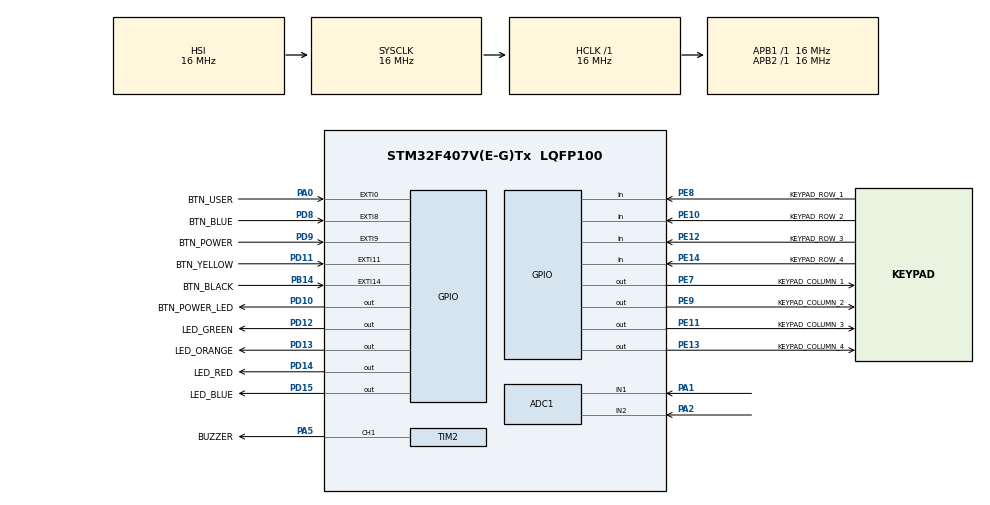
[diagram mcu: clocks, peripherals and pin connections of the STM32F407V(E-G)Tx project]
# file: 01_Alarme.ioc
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ADC1.Channel-0\#ChannelRegularConversion=ADC_CHANNEL_1
ADC1.Channel-1\#ChannelRegularConversion=ADC_CHANNEL_2
ADC1.ContinuousConvMode=ENABLE
ADC1.DMAContinuousRequests=ENABLE
ADC1.NbrOfConversion=2
ADC1.NbrOfConversionFlag=1
ADC1.Rank-0\#ChannelRegularConversion=1
ADC1.Rank-1\#ChannelRegularConversion=2
ADC1.SamplingTime-0\#ChannelRegularConversion=ADC_SAMPLETIME_480CYCLES
ADC1.SamplingTime-1\#ChannelRegularConversion=ADC_SAMPLETIME_480CYCLES
ADC1.master=1
Dma.ADC1.0.Direction=DMA_PERIPH_TO_MEMORY
Dma.ADC1.0.FIFOMode=DMA_FIFOMODE_DISABLE
Dma.ADC1.0.Instance=DMA2_Stream0
Dma.ADC1.0.MemDataAlignment=DMA_MDATAALIGN_WORD
Dma.ADC1.0.MemInc=DMA_MINC_ENABLE
Dma.ADC1.0.Mode=DMA_CIRCULAR
Dma.ADC1.0.PeriphDataAlignment=DMA_PDATAALIGN_WORD
Dma.ADC1.0.PeriphInc=DMA_PINC_DISABLE
Dma.ADC1.0.Priority=DMA_PRIORITY_LOW
Dma.Request0=ADC1
Mcu.Family=STM32F4
Mcu.Name=STM32F407V(E-G)Tx
Mcu.Package=LQFP100
NVIC.DMA2_Stream0_IRQn=true\:0\:0\:false\:false\:true\:false\:true
NVIC.EXTI0_IRQn=true\:1\:0\:true\:false\:true\:true\:true
NVIC.EXTI15_10_IRQn=true\:1\:0\:true\:false\:true\:true\:true
NVIC.EXTI9_5_IRQn=true\:1\:0\:true\:false\:true\:true\:true
NVIC.PriorityGroup=NVIC_PRIORITYGROUP_4
NVIC.TIM3_IRQn=true\:1\:0\:true\:false\:true\:true\:true
NVIC.TIM4_IRQn=true\:0\:0\:false\:false\:true\:true\:true
PA0-WKUP.GPIO_Label=BTN_USER
PA0-WKUP.GPIO_ModeDefaultEXTI=GPIO_MODE_IT_RISING
PA0-WKUP.GPIO_PuPd=GPIO_NOPULL
PA0-WKUP.Signal=GPXTI0
PA1.Signal=ADCx_IN1
PA2.Signal=ADCx_IN2
PA5.GPIO_Label=BUZZER
PA5.Signal=S_TIM2_CH1_ETR
PB14.GPIO_Label=BTN_BLACK
PB14.GPIO_PuPd=GPIO_PULLDOWN
PB14.Signal=GPXTI14
PD10.GPIO_Label=BTN_POWER_LED
PD10.Signal=GPIO_Output
PD11.GPIO_Label=BTN_YELLOW
PD11.GPIO_PuPd=GPIO_PULLDOWN
PD11.Signal=GPXTI11
PD12.GPIO_Label=LED_GREEN
PD12.Signal=GPIO_Output
PD13.GPIO_Label=LED_ORANGE
PD13.Signal=GPIO_Output
PD14.GPIO_Label=LED_RED
PD14.Signal=GPIO_Output
PD15.GPIO_Label=LED_BLUE
PD15.Signal=GPIO_Output
PD8.GPIO_Label=BTN_BLUE
PD8.GPIO_PuPd=GPIO_PULLDOWN
PD8.Signal=GPXTI8
PD9.GPIO_Label=BTN_POWER
PD9.GPIO_PuPd=GPIO_PULLDOWN
PD9.Signal=GPXTI9
PE10.GPIO_Label=KEYPAD_ROW_2
PE10.Signal=GPIO_Input
PE11.GPIO_Label=KEYPAD_COLUMN_3
PE11.Signal=GPIO_Output
PE12.GPIO_Label=KEYPAD_ROW_3
PE12.Signal=GPIO_Input
PE13.GPIO_Label=KEYPAD_COLUMN_4
PE13.Signal=GPIO_Output
PE14.GPIO_Label=KEYPAD_ROW_4
PE14.Signal=GPIO_Input
PE7.GPIO_Label=KEYPAD_COLUMN_1
PE7.Signal=GPIO_Output
PE8.GPIO_Label=KEYPAD_ROW_1
PE8.Signal=GPIO_Input
PE9.GPIO_Label=KEYPAD_COLUMN_2
PE9.Signal=GPIO_Output
ProjectManager.HeapSize=0x200
ProjectManager.StackSize=0x400
ProjectManager.TargetToolchain=MDK-ARM V5.27
RCC.AHBFreq_Value=16000000
RCC.APB1Freq_Value=16000000
RCC.APB2Freq_Value=16000000
RCC.CortexFreq_Value=16000000
RCC.HSE_VALUE=25000000
RCC.HSI_VALUE=16000000
RCC.LSE_VALUE=32768
RCC.SYSCLKFreq_VALUE=16000000
RCC.VCOOutputFreq_Value=192000000
SH.ADCx_IN1.0=ADC1_IN1,IN1
SH.ADCx_IN2.0=ADC1_IN2,IN2
SH.S_TIM2_CH1_ETR.0=TIM2_CH1,PWM Generation1 CH1
TIM1.Period=64000
TIM1.Prescaler=250
TIM2.Channel-PWM\ Generation1\ CH1=TIM_CHANNEL_1
TIM2.Period=4444
TIM3.Period=64000
TIM3.Prescaler=250
TIM4.Period=64000
TIM4.Prescaler=62
VP_TIM1_VS_ClockSourceINT.Mode=Internal
VP_TIM1_VS_OPM.Mode=OPM_bit
VP_TIM2_VS_ClockSourceINT.Mode=Internal
VP_TIM3_VS_ClockSourceINT.Mode=Internal
VP_TIM4_VS_ClockSourceINT.Mode=Internal
board=custom

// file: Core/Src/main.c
/* USER CODE BEGIN Header */
/**
 ******************************************************************************
 * @file           : main.c
 * @brief          : Main program body
 ******************************************************************************
 * @attention
 *
 * <h2><center>&copy; Copyright (c) 2020 STMicroelectronics.
 * All rights reserved.</center></h2>
 *
 * This software component is licensed by ST under BSD 3-Clause license,
 * the "License"; You may not use this file except in compliance with the
 * License. You may obtain a copy of the License at:
 *                        opensource.org/licenses/BSD-3-Clause
 *
 ******************************************************************************
 */
/* USER CODE END Header */
#include "main.h"

/* USER CODE BEGIN Includes */
#include "../../MDK-ARM/Alarm.h"
/* USER CODE END Includes */

/* USER CODE BEGIN PD */
#define Z_DOOR_MOVEMENT 2500
#define Y_DOOR_MOVEMENT 2000
/* USER CODE END PD */

ADC_HandleTypeDef hadc1;
DMA_HandleTypeDef hdma_adc1;

TIM_HandleTypeDef htim1;
TIM_HandleTypeDef htim2;
TIM_HandleTypeDef htim3;
TIM_HandleTypeDef htim4;

/* USER CODE BEGIN PV */
Alarm myAlarm;
uint32_t adc[2];
uint32_t adc_value[2];
uint8_t busy_adc = 0;
uint8_t keysVal[4][4] = {{'1','4','7','0'},{'2', '5', '8','F'},{'3', '6', '9','E'},{'A', 'B', 'C','D'}};
/* USER CODE END PV */

void SystemClock_Config(void);
static void MX_GPIO_Init(void);
static void MX_DMA_Init(void);
static void MX_TIM1_Init(void);
static void MX_TIM3_Init(void);
static void MX_TIM2_Init(void);
static void MX_ADC1_Init(void);
static void MX_TIM4_Init(void);
/* USER CODE BEGIN PFP */
char getKeyPressed(void);
/* USER CODE END PFP */

int main(void)
{

  /* MCU Configuration--------------------------------------------------------*/

  /* Reset of all peripherals, Initializes the Flash interface and the Systick. */
  HAL_Init();

  /* Configure the system clock */
  SystemClock_Config();

  /* Initialize all configured peripherals */
  MX_GPIO_Init();
  MX_DMA_Init();
  MX_TIM1_Init();
  MX_TIM3_Init();
  MX_TIM2_Init();
  MX_ADC1_Init();
  MX_TIM4_Init();
  /* USER CODE BEGIN 2 */
	init_alarm(&myAlarm, htim3, htim2);
    HAL_ADC_Start_DMA(&hadc1, adc, 2);
    HAL_TIM_Base_Start_IT(&htim4);
  /* USER CODE END 2 */

  /* Infinite loop */
	while (1)
	{

	}
}

void SystemClock_Config(void)
{
  RCC_OscInitTypeDef RCC_OscInitStruct = {0};
  RCC_ClkInitTypeDef RCC_ClkInitStruct = {0};

  /** Configure the main internal regulator output voltage
  */
  __HAL_RCC_PWR_CLK_ENABLE();
  __HAL_PWR_VOLTAGESCALING_CONFIG(PWR_REGULATOR_VOLTAGE_SCALE1);
  /** Initializes the RCC Oscillators according to the specified parameters
  * in the RCC_OscInitTypeDef structure.
  */
  RCC_OscInitStruct.OscillatorType = RCC_OSCILLATORTYPE_HSI;
  RCC_OscInitStruct.HSIState = RCC_HSI_ON;
  RCC_OscInitStruct.HSICalibrationValue = RCC_HSICALIBRATION_DEFAULT;
  RCC_OscInitStruct.PLL.PLLState = RCC_PLL_NONE;
  if (HAL_RCC_OscConfig(&RCC_OscInitStruct) != HAL_OK)
  {
    Error_Handler();
  }
  /** Initializes the CPU, AHB and APB buses clocks
  */
  RCC_ClkInitStruct.ClockType = RCC_CLOCKTYPE_HCLK|RCC_CLOCKTYPE_SYSCLK
                              |RCC_CLOCKTYPE_PCLK1|RCC_CLOCKTYPE_PCLK2;
  RCC_ClkInitStruct.SYSCLKSource = RCC_SYSCLKSOURCE_HSI;
  RCC_ClkInitStruct.AHBCLKDivider = RCC_SYSCLK_DIV1;
  RCC_ClkInitStruct.APB1CLKDivider = RCC_HCLK_DIV1;
  RCC_ClkInitStruct.APB2CLKDivider = RCC_HCLK_DIV1;

  if (HAL_RCC_ClockConfig(&RCC_ClkInitStruct, FLASH_LATENCY_0) != HAL_OK)
  {
    Error_Handler();
  }
}

static void MX_ADC1_Init(void)
{

  ADC_ChannelConfTypeDef sConfig = {0};

  /** Configure the global features of the ADC (Clock, Resolution, Data Alignment and number of conversion)
  */
  hadc1.Instance = ADC1;
  hadc1.Init.ClockPrescaler = ADC_CLOCK_SYNC_PCLK_DIV2;
  hadc1.Init.Resolution = ADC_RESOLUTION_12B;
  hadc1.Init.ScanConvMode = ENABLE;
  hadc1.Init.ContinuousConvMode = ENABLE;
  hadc1.Init.DiscontinuousConvMode = DISABLE;
  hadc1.Init.ExternalTrigConvEdge = ADC_EXTERNALTRIGCONVEDGE_NONE;
  hadc1.Init.ExternalTrigConv = ADC_SOFTWARE_START;
  hadc1.Init.DataAlign = ADC_DATAALIGN_RIGHT;
  hadc1.Init.NbrOfConversion = 2;
  hadc1.Init.DMAContinuousRequests = ENABLE;
  hadc1.Init.EOCSelection = ADC_EOC_SINGLE_CONV;
  if (HAL_ADC_Init(&hadc1) != HAL_OK)
  {
    Error_Handler();
  }
  /** Configure for the selected ADC regular channel its corresponding rank in the sequencer and its sample time.
  */
  sConfig.Channel = ADC_CHANNEL_1;
  sConfig.Rank = 1;
  sConfig.SamplingTime = ADC_SAMPLETIME_480CYCLES;
  if (HAL_ADC_ConfigChannel(&hadc1, &sConfig) != HAL_OK)
  {
    Error_Handler();
  }
  /** Configure for the selected ADC regular channel its corresponding rank in the sequencer and its sample time.
  */
  sConfig.Channel = ADC_CHANNEL_2;
  sConfig.Rank = 2;
  if (HAL_ADC_ConfigChannel(&hadc1, &sConfig) != HAL_OK)
  {
    Error_Handler();
  }

}

static void MX_TIM1_Init(void)
{

  TIM_ClockConfigTypeDef sClockSourceConfig = {0};
  TIM_MasterConfigTypeDef sMasterConfig = {0};

  htim1.Instance = TIM1;
  htim1.Init.Prescaler = 250;
  htim1.Init.CounterMode = TIM_COUNTERMODE_UP;
  htim1.Init.Period = 64000;
  htim1.Init.ClockDivision = TIM_CLOCKDIVISION_DIV1;
  htim1.Init.RepetitionCounter = 0;
  htim1.Init.AutoReloadPreload = TIM_AUTORELOAD_PRELOAD_DISABLE;
  if (HAL_TIM_Base_Init(&htim1) != HAL_OK)
  {
    Error_Handler();
  }
  sClockSourceConfig.ClockSource = TIM_CLOCKSOURCE_INTERNAL;
  if (HAL_TIM_ConfigClockSource(&htim1, &sClockSourceConfig) != HAL_OK)
  {
    Error_Handler();
  }
  if (HAL_TIM_OnePulse_Init(&htim1, TIM_OPMODE_SINGLE) != HAL_OK)
  {
    Error_Handler();
  }
  sMasterConfig.MasterOutputTrigger = TIM_TRGO_RESET;
  sMasterConfig.MasterSlaveMode = TIM_MASTERSLAVEMODE_DISABLE;
  if (HAL_TIMEx_MasterConfigSynchronization(&htim1, &sMasterConfig) != HAL_OK)
  {
    Error_Handler();
  }

}

static void MX_TIM2_Init(void)
{

  TIM_ClockConfigTypeDef sClockSourceConfig = {0};
  TIM_MasterConfigTypeDef sMasterConfig = {0};
  TIM_OC_InitTypeDef sConfigOC = {0};

  htim2.Instance = TIM2;
  htim2.Init.Prescaler = 0;
  htim2.Init.CounterMode = TIM_COUNTERMODE_UP;
  htim2.Init.Period = 4444;
  htim2.Init.ClockDivision = TIM_CLOCKDIVISION_DIV1;
  htim2.Init.AutoReloadPreload = TIM_AUTORELOAD_PRELOAD_DISABLE;
  if (HAL_TIM_Base_Init(&htim2) != HAL_OK)
  {
    Error_Handler();
  }
  sClockSourceConfig.ClockSource = TIM_CLOCKSOURCE_INTERNAL;
  if (HAL_TIM_ConfigClockSource(&htim2, &sClockSourceConfig) != HAL_OK)
  {
    Error_Handler();
  }
  if (HAL_TIM_PWM_Init(&htim2) != HAL_OK)
  {
    Error_Handler();
  }
  sMasterConfig.MasterOutputTrigger = TIM_TRGO_RESET;
  sMasterConfig.MasterSlaveMode = TIM_MASTERSLAVEMODE_DISABLE;
  if (HAL_TIMEx_MasterConfigSynchronization(&htim2, &sMasterConfig) != HAL_OK)
  {
    Error_Handler();
  }
  sConfigOC.OCMode = TIM_OCMODE_PWM1;
  sConfigOC.Pulse = 0;
  sConfigOC.OCPolarity = TIM_OCPOLARITY_HIGH;
  sConfigOC.OCFastMode = TIM_OCFAST_DISABLE;
  if (HAL_TIM_PWM_ConfigChannel(&htim2, &sConfigOC, TIM_CHANNEL_1) != HAL_OK)
  {
    Error_Handler();
  }
  HAL_TIM_MspPostInit(&htim2);

}

static void MX_TIM3_Init(void)
{

  TIM_ClockConfigTypeDef sClockSourceConfig = {0};
  TIM_MasterConfigTypeDef sMasterConfig = {0};

  htim3.Instance = TIM3;
  htim3.Init.Prescaler = 250;
  htim3.Init.CounterMode = TIM_COUNTERMODE_UP;
  htim3.Init.Period = 64000;
  htim3.Init.ClockDivision = TIM_CLOCKDIVISION_DIV1;
  htim3.Init.AutoReloadPreload = TIM_AUTORELOAD_PRELOAD_DISABLE;
  if (HAL_TIM_Base_Init(&htim3) != HAL_OK)
  {
    Error_Handler();
  }
  sClockSourceConfig.ClockSource = TIM_CLOCKSOURCE_INTERNAL;
  if (HAL_TIM_ConfigClockSource(&htim3, &sClockSourceConfig) != HAL_OK)
  {
    Error_Handler();
  }
  sMasterConfig.MasterOutputTrigger = TIM_TRGO_RESET;
  sMasterConfig.MasterSlaveMode = TIM_MASTERSLAVEMODE_DISABLE;
  if (HAL_TIMEx_MasterConfigSynchronization(&htim3, &sMasterConfig) != HAL_OK)
  {
    Error_Handler();
  }

}

static void MX_TIM4_Init(void)
{

  TIM_ClockConfigTypeDef sClockSourceConfig = {0};
  TIM_MasterConfigTypeDef sMasterConfig = {0};

  htim4.Instance = TIM4;
  htim4.Init.Prescaler = 62;
  htim4.Init.CounterMode = TIM_COUNTERMODE_UP;
  htim4.Init.Period = 64000;
  htim4.Init.ClockDivision = TIM_CLOCKDIVISION_DIV1;
  htim4.Init.AutoReloadPreload = TIM_AUTORELOAD_PRELOAD_DISABLE;
  if (HAL_TIM_Base_Init(&htim4) != HAL_OK)
  {
    Error_Handler();
  }
  sClockSourceConfig.ClockSource = TIM_CLOCKSOURCE_INTERNAL;
  if (HAL_TIM_ConfigClockSource(&htim4, &sClockSourceConfig) != HAL_OK)
  {
    Error_Handler();
  }
  sMasterConfig.MasterOutputTrigger = TIM_TRGO_RESET;
  sMasterConfig.MasterSlaveMode = TIM_MASTERSLAVEMODE_DISABLE;
  if (HAL_TIMEx_MasterConfigSynchronization(&htim4, &sMasterConfig) != HAL_OK)
  {
    Error_Handler();
  }

}

static void MX_DMA_Init(void)
{

  /* DMA controller clock enable */
  __HAL_RCC_DMA2_CLK_ENABLE();

  /* DMA interrupt init */
  /* DMA2_Stream0_IRQn interrupt configuration */
  HAL_NVIC_SetPriority(DMA2_Stream0_IRQn, 0, 0);
  HAL_NVIC_EnableIRQ(DMA2_Stream0_IRQn);

}

static void MX_GPIO_Init(void)
{
  GPIO_InitTypeDef GPIO_InitStruct = {0};

  /* GPIO Ports Clock Enable */
  __HAL_RCC_GPIOA_CLK_ENABLE();
  __HAL_RCC_GPIOE_CLK_ENABLE();
  __HAL_RCC_GPIOB_CLK_ENABLE();
  __HAL_RCC_GPIOD_CLK_ENABLE();

  /*Configure GPIO pin Output Level */
  HAL_GPIO_WritePin(GPIOE, KEYPAD_COLUMN_1_Pin|KEYPAD_COLUMN_2_Pin|KEYPAD_COLUMN_3_Pin|KEYPAD_COLUMN_4_Pin, GPIO_PIN_RESET);

  /*Configure GPIO pin Output Level */
  HAL_GPIO_WritePin(GPIOD, BTN_POWER_LED_Pin|LED_GREEN_Pin|LED_ORANGE_Pin|LED_RED_Pin
                          |LED_BLUE_Pin, GPIO_PIN_RESET);

  /*Configure GPIO pin : BTN_USER_Pin */
  GPIO_InitStruct.Pin = BTN_USER_Pin;
  GPIO_InitStruct.Mode = GPIO_MODE_IT_RISING;
  GPIO_InitStruct.Pull = GPIO_NOPULL;
  HAL_GPIO_Init(BTN_USER_GPIO_Port, &GPIO_InitStruct);

  /*Configure GPIO pins : KEYPAD_COLUMN_1_Pin KEYPAD_COLUMN_2_Pin KEYPAD_COLUMN_3_Pin KEYPAD_COLUMN_4_Pin */
  GPIO_InitStruct.Pin = KEYPAD_COLUMN_1_Pin|KEYPAD_COLUMN_2_Pin|KEYPAD_COLUMN_3_Pin|KEYPAD_COLUMN_4_Pin;
  GPIO_InitStruct.Mode = GPIO_MODE_OUTPUT_PP;
  GPIO_InitStruct.Pull = GPIO_NOPULL;
  GPIO_InitStruct.Speed = GPIO_SPEED_FREQ_LOW;
  HAL_GPIO_Init(GPIOE, &GPIO_InitStruct);

  /*Configure GPIO pins : KEYPAD_ROW_1_Pin KEYPAD_ROW_2_Pin KEYPAD_ROW_3_Pin KEYPAD_ROW_4_Pin */
  GPIO_InitStruct.Pin = KEYPAD_ROW_1_Pin|KEYPAD_ROW_2_Pin|KEYPAD_ROW_3_Pin|KEYPAD_ROW_4_Pin;
  GPIO_InitStruct.Mode = GPIO_MODE_INPUT;
  GPIO_InitStruct.Pull = GPIO_NOPULL;
  HAL_GPIO_Init(GPIOE, &GPIO_InitStruct);

  /*Configure GPIO pin : BTN_BLACK_Pin */
  GPIO_InitStruct.Pin = BTN_BLACK_Pin;
  GPIO_InitStruct.Mode = GPIO_MODE_IT_RISING;
  GPIO_InitStruct.Pull = GPIO_PULLDOWN;
  HAL_GPIO_Init(BTN_BLACK_GPIO_Port, &GPIO_InitStruct);

  /*Configure GPIO pins : BTN_BLUE_Pin BTN_POWER_Pin BTN_YELLOW_Pin */
  GPIO_InitStruct.Pin = BTN_BLUE_Pin|BTN_POWER_Pin|BTN_YELLOW_Pin;
  GPIO_InitStruct.Mode = GPIO_MODE_IT_RISING;
  GPIO_InitStruct.Pull = GPIO_PULLDOWN;
  HAL_GPIO_Init(GPIOD, &GPIO_InitStruct);

  /*Configure GPIO pins : BTN_POWER_LED_Pin LED_GREEN_Pin LED_ORANGE_Pin LED_RED_Pin
                           LED_BLUE_Pin */
  GPIO_InitStruct.Pin = BTN_POWER_LED_Pin|LED_GREEN_Pin|LED_ORANGE_Pin|LED_RED_Pin
                          |LED_BLUE_Pin;
  GPIO_InitStruct.Mode = GPIO_MODE_OUTPUT_PP;
  GPIO_InitStruct.Pull = GPIO_NOPULL;
  GPIO_InitStruct.Speed = GPIO_SPEED_FREQ_LOW;
  HAL_GPIO_Init(GPIOD, &GPIO_InitStruct);

  /* EXTI interrupt init*/
  HAL_NVIC_SetPriority(EXTI0_IRQn, 1, 0);
  HAL_NVIC_EnableIRQ(EXTI0_IRQn);

  HAL_NVIC_SetPriority(EXTI9_5_IRQn, 1, 0);
  HAL_NVIC_EnableIRQ(EXTI9_5_IRQn);

  HAL_NVIC_SetPriority(EXTI15_10_IRQn, 1, 0);
  HAL_NVIC_EnableIRQ(EXTI15_10_IRQn);

}

/* USER CODE BEGIN 4 */
void HAL_GPIO_EXTI_Callback(uint16_t GPIO_Pin)
{
	static uint16_t last_GPIO_Pin = 0;

	// This "if" prevent multiple button detections
	if(last_GPIO_Pin == GPIO_Pin && __HAL_TIM_GetCounter(&htim1) != 0)
		return;

	last_GPIO_Pin = GPIO_Pin;
	HAL_TIM_Base_Start(&htim1);

	switch(myAlarm.alarm_state){
		case OFF:
			if(GPIO_Pin == BTN_POWER_Pin){
				change_state(&myAlarm, STARTING);
			}
			break;

		case STARTING:
			if(GPIO_Pin == BTN_POWER_Pin){
					change_state(&myAlarm, OFF);
			}
			break;

		case ENGAGED:
			if(GPIO_Pin == BTN_POWER_Pin){
					change_state(&myAlarm, OFF);
			}
			else if(GPIO_Pin == BTN_USER_Pin){
				change_state(&myAlarm, TRIGERRED);
			}
			break;

		case TRIGERRED:
			switch(GPIO_Pin){
				case BTN_YELLOW_Pin: case BTN_BLUE_Pin:
					for(char i = 0; i < 4; i++){
						if(myAlarm.user_current_pin[i] == 0){
							myAlarm.user_current_pin[i] = GPIO_Pin;
							if(i == 3){
								if(check_pin(&myAlarm)){
									playRightPin(&htim2);
									change_state(&myAlarm, OFF);
									HAL_Delay(200);
								}
								else{
									playWrongPin(&htim2);
									myAlarm.missed_pin_cpt ++;
									if(myAlarm.missed_pin_cpt >= 3)
										change_state(&myAlarm, ALARM);
								}
								reset_user_pin(&myAlarm);
							}
							break;
						}
					}
					break;
			}
			break;
				case ALARM:
					if(GPIO_Pin == BTN_BLACK_Pin)
						change_state(&myAlarm, ENGAGED);
					break;
	}
}

void HAL_TIM_PeriodElapsedCallback(TIM_HandleTypeDef *htim)
{
  if(htim == &htim3){
		switch(myAlarm.alarm_state){
			case STARTING:
				HAL_GPIO_TogglePin(GPIOD, LED_ORANGE_Pin);
				myAlarm.starting_cpt ++;

				if(myAlarm.starting_cpt >= STARTING_TIME){
					change_state(&myAlarm, ENGAGED);
				}
			break;

			case TRIGERRED:
				HAL_GPIO_TogglePin(GPIOD, LED_RED_Pin);
				myAlarm.triggered_cpt ++;

				if(myAlarm.triggered_cpt >= MAX_PIN_TIME){
					change_state(&myAlarm, ALARM);
				}
			break;

			default:
				do_nothing();
		}
	}
	if(htim == &htim4) {
		busy_adc = 1;
		if (adc_value[0] > Z_DOOR_MOVEMENT && adc_value[1] > Y_DOOR_MOVEMENT) {
			// door open
		}
		busy_adc = 0;
	}
}

/**
  * @brief  Regular conversion complete callback in non blocking mode
  * @param  hadc pointer to a ADC_HandleTypeDef structure that contains
  *         the configuration information for the specified ADC.
  * @retval None
  */
void HAL_ADC_ConvCpltCallback(ADC_HandleTypeDef* hadc)
{
	if (!busy_adc){
		adc_value[0] = adc[0];
		adc_value[1] = adc[1];
	}
}

/**
  * @brief  Get keypad key pressed in polling mode
  * @retval Key value pressed or N if no key is pressed
  */
char getKeyPressed(){
	uint16_t pin_value = 0;
	for(int i=0 ; i<4 ; i++){
		pin_value =  GPIO_PIN_7 << (i*2);
		HAL_GPIO_WritePin(GPIOE, pin_value, GPIO_PIN_RESET);	// Put a keypad column to low to read pin values on that column
		if( HAL_GPIO_ReadPin(GPIOE, GPIO_PIN_8) == GPIO_PIN_RESET){ // Read first button value on keypad
			return keysVal[i][0];
		}
		if( HAL_GPIO_ReadPin(GPIOE, GPIO_PIN_10) == GPIO_PIN_RESET){	// Read second button value on keypad
			return keysVal[i][1];
		}
		if( HAL_GPIO_ReadPin(GPIOE, GPIO_PIN_12) == GPIO_PIN_RESET){	// Read third button on keypad
			return keysVal[i][2];
		}
		if( HAL_GPIO_ReadPin(GPIOE, GPIO_PIN_14) == GPIO_PIN_RESET){	// Read fourth button on keypad
			return keysVal[i][3];
		}
		HAL_GPIO_WritePin(GPIOE, pin_value, GPIO_PIN_SET);	// Put keypad column to high to stop reading values on that column
	}
	return 'N';	// Return N if no key is pressed
}
/* USER CODE END 4 */

void Error_Handler(void)
{
}

/************************ (C) COPYRIGHT STMicroelectronics *****END OF FILE****/
